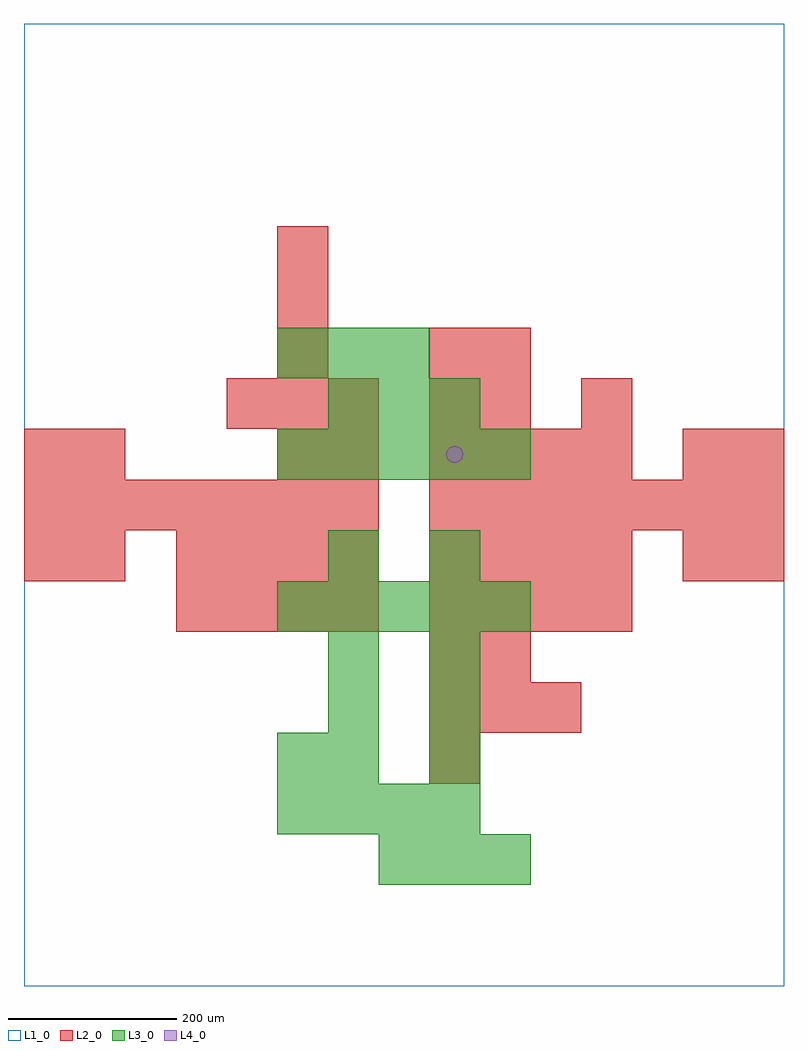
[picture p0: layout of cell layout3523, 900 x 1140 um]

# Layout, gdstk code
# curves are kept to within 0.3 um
import gdstk
lib = gdstk.Library(unit=1e-6, precision=1e-09)
def R(c, l, rs):  # rectangles x0, y0, x1, y1
    for r in rs: c.add(gdstk.rectangle(r[:2], r[2:], *l))
def A(c, l, x, y, w, h, nx, ny, dx, dy):  # array of equal rectangles
    R(c, l, [(x+i*dx, y+j*dy, x+i*dx+w, y+j*dy+h) for i in range(nx) for j in range(ny)])
def P(c, l, *ps):  # polygons
    for p in ps: c.add(gdstk.Polygon(p, *l))
L1_0 = (1, 0)
L2_0 = (2, 0)
L3_0 = (3, 0)
L4_0 = (4, 0)

layout3523 = lib.new_cell('layout3523')
R(layout3523, L1_0, [(0,0,900,1140)])
A(layout3523, L2_0, 480, 300, 60, 60, 3, 1, 60, 0)
A(layout3523, L2_0, 180, 420, 60, 60, 4, 2, 60, 60)
A(layout3523, L2_0, 480, 420, 60, 60, 4, 2, 60, 60)
A(layout3523, L2_0, 0, 540, 60, 60, 7, 1, 60, 0)
A(layout3523, L2_0, 480, 540, 60, 60, 7, 1, 60, 0)
A(layout3523, L2_0, 480, 600, 60, 60, 4, 1, 60, 0)
A(layout3523, L2_0, 240, 660, 60, 60, 3, 1, 60, 0)
A(layout3523, L2_0, 300, 720, 60, 60, 1, 3, 0, 60)
R(layout3523, L2_0, [(480,240,540,300), (480,360,540,420), (540,360,600,420), (0,480,60,540), (60,480,120,540), (780,480,840,540), (840,480,900,540), (0,600,60,660), (60,600,120,660), (300,600,360,660), (360,600,420,660), (780,600,840,660), (840,600,900,660), (480,660,540,720), (540,660,600,720), (660,660,720,720), (480,720,540,780), (540,720,600,780)])
A(layout3523, L3_0, 420, 120, 60, 60, 3, 1, 60, 0)
A(layout3523, L3_0, 300, 180, 60, 60, 4, 1, 60, 0)
A(layout3523, L3_0, 360, 240, 60, 60, 1, 3, 0, 60)
A(layout3523, L3_0, 480, 240, 60, 60, 1, 3, 0, 60)
A(layout3523, L3_0, 300, 420, 60, 60, 5, 2, 60, 180)
A(layout3523, L3_0, 360, 660, 60, 60, 3, 1, 60, 0)
A(layout3523, L3_0, 300, 720, 60, 60, 3, 1, 60, 0)
R(layout3523, L3_0, [(300,240,360,300), (360,480,420,540), (480,480,540,540)])
P(layout3523, L4_0, [(520,630),(519.239,633.827),(517.071,637.071),(513.827,639.239),(510,640),(506.173,639.239),(502.929,637.071),(500.761,633.827),(500,630),(500.761,626.173),(502.929,622.929),(506.173,620.761),(510,620),(513.827,620.761),(517.071,622.929),(519.239,626.173)])

lib.write_gds('layout3523.gds')
